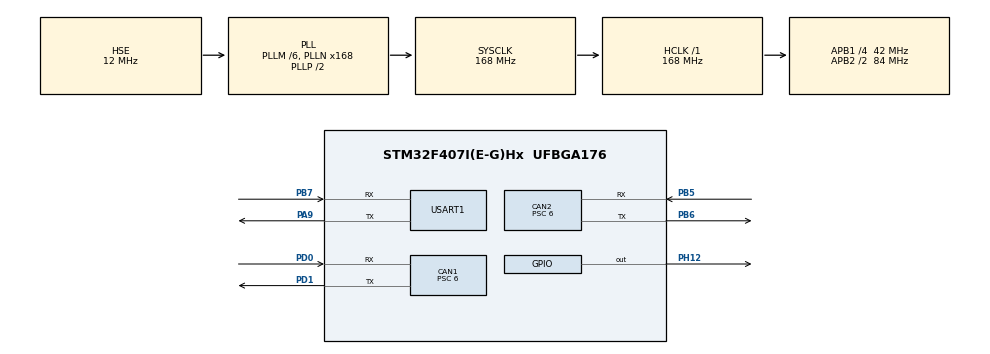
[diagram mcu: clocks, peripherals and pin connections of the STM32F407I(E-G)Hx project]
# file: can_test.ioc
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CAN1.BS1=CAN_BS1_10TQ
CAN1.BS2=CAN_BS2_3TQ
CAN1.CalculateBaudRate=500000
CAN1.CalculateTimeBit=2000
CAN1.CalculateTimeQuantum=142.85714285714286
CAN1.Prescaler=6
CAN2.BS1=CAN_BS1_10TQ
CAN2.BS2=CAN_BS2_3TQ
CAN2.CalculateBaudRate=500000
CAN2.CalculateTimeBit=2000
CAN2.CalculateTimeQuantum=142.85714285714286
CAN2.Prescaler=6
Mcu.Family=STM32F4
Mcu.Name=STM32F407I(E-G)Hx
Mcu.Package=UFBGA176
NVIC.CAN1_RX0_IRQn=true\:0\:0\:false\:false\:true\:true\:true\:true
NVIC.CAN1_RX1_IRQn=true\:0\:0\:false\:false\:true\:true\:true\:true
NVIC.CAN2_RX0_IRQn=true\:0\:0\:false\:false\:true\:true\:true\:true
NVIC.PriorityGroup=NVIC_PRIORITYGROUP_4
PA13.Mode=Serial_Wire
PA13.Signal=SYS_JTMS-SWDIO
PA14.Mode=Serial_Wire
PA14.Signal=SYS_JTCK-SWCLK
PA9.Mode=Asynchronous
PA9.Signal=USART1_TX
PB5.Mode=CAN_Activate
PB5.Signal=CAN2_RX
PB6.Mode=CAN_Activate
PB6.Signal=CAN2_TX
PB7.Mode=Asynchronous
PB7.Signal=USART1_RX
PD0.Mode=CAN_Activate
PD0.Signal=CAN1_RX
PD1.Mode=CAN_Activate
PD1.Signal=CAN1_TX
PH0-OSC_IN.Mode=HSE-External-Oscillator
PH0-OSC_IN.Signal=RCC_OSC_IN
PH1-OSC_OUT.Mode=HSE-External-Oscillator
PH1-OSC_OUT.Signal=RCC_OSC_OUT
PH12.Signal=GPIO_Output
ProjectManager.HeapSize=0x200
ProjectManager.StackSize=0x400
ProjectManager.TargetToolchain=STM32CubeIDE
RCC.48MHZClocksFreq_Value=84000000
RCC.AHBFreq_Value=168000000
RCC.APB1CLKDivider=RCC_HCLK_DIV4
RCC.APB1Freq_Value=42000000
RCC.APB1TimFreq_Value=84000000
RCC.APB2CLKDivider=RCC_HCLK_DIV2
RCC.APB2Freq_Value=84000000
RCC.APB2TimFreq_Value=168000000
RCC.CortexFreq_Value=168000000
RCC.HCLKFreq_Value=168000000
RCC.HSE_VALUE=12000000
RCC.HSI_VALUE=16000000
RCC.LSE_VALUE=32768
RCC.PLLM=6
RCC.PLLN=168
RCC.PLLSourceVirtual=RCC_PLLSOURCE_HSE
RCC.SYSCLKFreq_VALUE=168000000
RCC.SYSCLKSource=RCC_SYSCLKSOURCE_PLLCLK
RCC.VCOOutputFreq_Value=336000000
USART1.VirtualMode=VM_ASYNC
board=custom

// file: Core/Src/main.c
/* USER CODE BEGIN Header */
/**
  ******************************************************************************
  * @file           : main.c
  * @brief          : Main program body
  ******************************************************************************
  * @attention
  *
  * Copyright (c) 2022 STMicroelectronics.
  * All rights reserved.
  *
  * This software is licensed under terms that can be found in the LICENSE file
  * in the root directory of this software component.
  * If no LICENSE file comes with this software, it is provided AS-IS.
  *
  ******************************************************************************
  */
/* USER CODE END Header */
#include "main.h"

 CAN_HandleTypeDef hcan1;
CAN_HandleTypeDef hcan2;

UART_HandleTypeDef huart1;

void SystemClock_Config(void);
static void MX_GPIO_Init(void);
static void MX_CAN2_Init(void);
static void MX_CAN1_Init(void);
static void MX_USART1_UART_Init(void);

/* USER CODE BEGIN 0 */
void can_filter_init(void)
{

	CAN_FilterTypeDef can_filter_st;
	    can_filter_st.FilterActivation = ENABLE;
	    can_filter_st.FilterMode = CAN_FILTERMODE_IDMASK;
	    can_filter_st.FilterScale = CAN_FILTERSCALE_32BIT;
	    can_filter_st.FilterIdHigh = 0x0000;
	    can_filter_st.FilterIdLow = 0x0000;
	    can_filter_st.FilterMaskIdHigh = 0x0000;
	    can_filter_st.FilterMaskIdLow = 0x0000;
	    can_filter_st.FilterBank = 0;
	    can_filter_st.FilterFIFOAssignment = CAN_RX_FIFO0;
	    HAL_CAN_ConfigFilter(&hcan1, &can_filter_st);
	    HAL_CAN_Start(&hcan1);
	    HAL_CAN_ActivateNotification(&hcan1, CAN_IT_RX_FIFO0_MSG_PENDING);

	    can_filter_st.SlaveStartFilterBank = 14;
	    can_filter_st.FilterBank = 14;
	    HAL_CAN_ConfigFilter(&hcan2, &can_filter_st);
	    HAL_CAN_Start(&hcan2);
	    HAL_CAN_ActivateNotification(&hcan2, CAN_IT_RX_FIFO0_MSG_PENDING);

}

char m[14];
void HAL_CAN_RxFifo0MsgPendingCallback(CAN_HandleTypeDef *hcan)
{
    CAN_RxHeaderTypeDef rx_header;
    uint8_t rx_data[8];
   // m[6]=',';
    HAL_CAN_GetRxMessage(hcan, CAN_RX_FIFO0, &rx_header, rx_data);
		HAL_GPIO_WritePin(GPIOH,GPIO_PIN_12,GPIO_PIN_SET);
		/*CAN_TxHeaderTypeDef tx_header;
		tx_header.DLC=rx_header.DLC;
		tx_header.ExtId=rx_header.ExtId;
		tx_header.IDE=rx_header.IDE;
		tx_header.RTR=rx_header.RTR;
		tx_header.StdId=rx_header.StdId;
		tx_header.TransmitGlobalTime=rx_header.Timestamp;
		*/
	 //HAL_CAN_AddTxMessage(&hcan1,&tx_header, rx_data, rx_header.FilterMatchIndex);
    int x=123;
	x=(rx_data[3]<<8)|rx_data[2];
	double wei=(double)x*360.0/32768.0;
	//int y=123;
	//y=(rx_data[5]<<8)|rx_data[4];
	//double zhuan=(double)y*360.0/32768.0/0.001;
	if(rx_header.StdId==0x50)
	{
		 m[0]=(int)wei/100%10+'0';
	  m[1]=(int)wei/10%10+'0';
	  m[2]=(int)wei%10+'0';
	  m[3]=46;
	  m[4]=(int)(wei*10)%10+'0';
	  m[5]=(int)(wei*100)%10+'0';
	  m[6]=',';
	}
	else
	{
	  m[7]=(int)wei/100%10+'0';
	  m[8]=(int)wei/10%10+'0';
	  m[9]=(int)wei%10+'0';
	  m[10]=46;
	  m[11]=(int)(wei*10)%10+'0';
	  m[12]=(int)(wei*100)%10+'0';
	  m[13]=10;
	}

  //HAL_CAN_GetRxMessage(&hcan2, CAN_RX_FIFO0, &rx_header, rx_data);
 // m[13]=(int)(wei*1000)%10+'0';

  HAL_UART_Transmit(&huart1, (uint8_t*)&m,sizeof(m), 1000);

}
void HAL_CAN_RxFifo1MsgPendingCallback(CAN_HandleTypeDef *hcan)
{
	CAN_RxHeaderTypeDef rx_header;
	    uint8_t rx_data[8];
	    m[6]=',';
	    HAL_CAN_GetRxMessage(hcan, CAN_RX_FIFO0, &rx_header, rx_data);
			HAL_GPIO_WritePin(GPIOH,GPIO_PIN_12,GPIO_PIN_SET);
			/*CAN_TxHeaderTypeDef tx_header;
			tx_header.DLC=rx_header.DLC;
			tx_header.ExtId=rx_header.ExtId;
			tx_header.IDE=rx_header.IDE;
			tx_header.RTR=rx_header.RTR;
			tx_header.StdId=rx_header.StdId;
			tx_header.TransmitGlobalTime=rx_header.Timestamp;
			*/
		 //HAL_CAN_AddTxMessage(&hcan1,&tx_header, rx_data, rx_header.FilterMatchIndex);
	    int x=123;
		x=(rx_data[3]<<8)|rx_data[2];
		double wei=(double)x*360.0/32768.0;

	  HAL_UART_Transmit(&huart1, (uint8_t*)&m,sizeof(m), 1000);
}
/* USER CODE END 0 */

int main(void)
{

  /* MCU Configuration--------------------------------------------------------*/

  /* Reset of all peripherals, Initializes the Flash interface and the Systick. */
  HAL_Init();

  /* Configure the system clock */
  SystemClock_Config();

  /* Initialize all configured peripherals */
  MX_GPIO_Init();

  MX_CAN1_Init();
  MX_CAN2_Init();
  MX_USART1_UART_Init();
  /* USER CODE BEGIN 2 */
can_filter_init();
CAN_TxHeaderTypeDef tx_header;
uint32_t mail;
tx_header.DLC=8;
tx_header.IDE=CAN_ID_STD;
tx_header.TransmitGlobalTime=DISABLE;
tx_header.RTR=CAN_RTR_DATA;
uint8_t data[8]={1,2,3,4,5,6,7,8};
  /* USER CODE END 2 */

  /* Infinite loop */
  while (1)
  {

    /* USER CODE BEGIN 3 */

	  //HAL_CAN_AddTxMessage(&hcan1, &tx_header, data, &mail);
  }
  /* USER CODE END 3 */
}

void SystemClock_Config(void)
{
  RCC_OscInitTypeDef RCC_OscInitStruct = {0};
  RCC_ClkInitTypeDef RCC_ClkInitStruct = {0};

  /** Configure the main internal regulator output voltage
  */
  __HAL_RCC_PWR_CLK_ENABLE();
  __HAL_PWR_VOLTAGESCALING_CONFIG(PWR_REGULATOR_VOLTAGE_SCALE1);

  /** Initializes the RCC Oscillators according to the specified parameters
  * in the RCC_OscInitTypeDef structure.
  */
  RCC_OscInitStruct.OscillatorType = RCC_OSCILLATORTYPE_HSE;
  RCC_OscInitStruct.HSEState = RCC_HSE_ON;
  RCC_OscInitStruct.PLL.PLLState = RCC_PLL_ON;
  RCC_OscInitStruct.PLL.PLLSource = RCC_PLLSOURCE_HSE;
  RCC_OscInitStruct.PLL.PLLM = 6;
  RCC_OscInitStruct.PLL.PLLN = 168;
  RCC_OscInitStruct.PLL.PLLP = RCC_PLLP_DIV2;
  RCC_OscInitStruct.PLL.PLLQ = 4;
  if (HAL_RCC_OscConfig(&RCC_OscInitStruct) != HAL_OK)
  {
    Error_Handler();
  }

  /** Initializes the CPU, AHB and APB buses clocks
  */
  RCC_ClkInitStruct.ClockType = RCC_CLOCKTYPE_HCLK|RCC_CLOCKTYPE_SYSCLK
                              |RCC_CLOCKTYPE_PCLK1|RCC_CLOCKTYPE_PCLK2;
  RCC_ClkInitStruct.SYSCLKSource = RCC_SYSCLKSOURCE_PLLCLK;
  RCC_ClkInitStruct.AHBCLKDivider = RCC_SYSCLK_DIV1;
  RCC_ClkInitStruct.APB1CLKDivider = RCC_HCLK_DIV4;
  RCC_ClkInitStruct.APB2CLKDivider = RCC_HCLK_DIV2;

  if (HAL_RCC_ClockConfig(&RCC_ClkInitStruct, FLASH_LATENCY_5) != HAL_OK)
  {
    Error_Handler();
  }
}

static void MX_CAN1_Init(void)
{

  hcan1.Instance = CAN1;
  hcan1.Init.Prescaler = 6;
  hcan1.Init.Mode = CAN_MODE_NORMAL;
  hcan1.Init.SyncJumpWidth = CAN_SJW_1TQ;
  hcan1.Init.TimeSeg1 = CAN_BS1_10TQ;
  hcan1.Init.TimeSeg2 = CAN_BS2_3TQ;
  hcan1.Init.TimeTriggeredMode = DISABLE;
  hcan1.Init.AutoBusOff = DISABLE;
  hcan1.Init.AutoWakeUp = DISABLE;
  hcan1.Init.AutoRetransmission = DISABLE;
  hcan1.Init.ReceiveFifoLocked = DISABLE;
  hcan1.Init.TransmitFifoPriority = DISABLE;
  if (HAL_CAN_Init(&hcan1) != HAL_OK)
  {
    Error_Handler();
  }

}

static void MX_CAN2_Init(void)
{

  hcan2.Instance = CAN2;
  hcan2.Init.Prescaler = 6;
  hcan2.Init.Mode = CAN_MODE_NORMAL;
  hcan2.Init.SyncJumpWidth = CAN_SJW_1TQ;
  hcan2.Init.TimeSeg1 = CAN_BS1_10TQ;
  hcan2.Init.TimeSeg2 = CAN_BS2_3TQ;
  hcan2.Init.TimeTriggeredMode = DISABLE;
  hcan2.Init.AutoBusOff = DISABLE;
  hcan2.Init.AutoWakeUp = DISABLE;
  hcan2.Init.AutoRetransmission = DISABLE;
  hcan2.Init.ReceiveFifoLocked = DISABLE;
  hcan2.Init.TransmitFifoPriority = DISABLE;
  if (HAL_CAN_Init(&hcan2) != HAL_OK)
  {
    Error_Handler();
  }

}

static void MX_USART1_UART_Init(void)
{

  huart1.Instance = USART1;
  huart1.Init.BaudRate = 115200;
  huart1.Init.WordLength = UART_WORDLENGTH_8B;
  huart1.Init.StopBits = UART_STOPBITS_1;
  huart1.Init.Parity = UART_PARITY_NONE;
  huart1.Init.Mode = UART_MODE_TX_RX;
  huart1.Init.HwFlowCtl = UART_HWCONTROL_NONE;
  huart1.Init.OverSampling = UART_OVERSAMPLING_16;
  if (HAL_UART_Init(&huart1) != HAL_OK)
  {
    Error_Handler();
  }

}

static void MX_GPIO_Init(void)
{
  GPIO_InitTypeDef GPIO_InitStruct = {0};

  /* GPIO Ports Clock Enable */
  __HAL_RCC_GPIOB_CLK_ENABLE();
  __HAL_RCC_GPIOA_CLK_ENABLE();
  __HAL_RCC_GPIOD_CLK_ENABLE();
  __HAL_RCC_GPIOH_CLK_ENABLE();

  /*Configure GPIO pin Output Level */
  HAL_GPIO_WritePin(GPIOH, GPIO_PIN_12, GPIO_PIN_RESET);

  /*Configure GPIO pin : PH12 */
  GPIO_InitStruct.Pin = GPIO_PIN_12;
  GPIO_InitStruct.Mode = GPIO_MODE_OUTPUT_PP;
  GPIO_InitStruct.Pull = GPIO_NOPULL;
  GPIO_InitStruct.Speed = GPIO_SPEED_FREQ_LOW;
  HAL_GPIO_Init(GPIOH, &GPIO_InitStruct);

}

void Error_Handler(void)
{
  __disable_irq();
  while (1)
  {
  }
}
